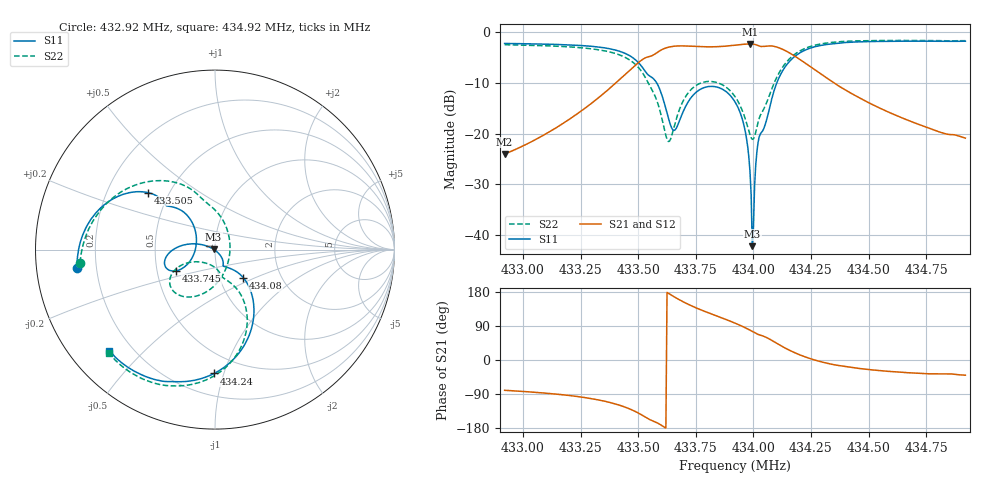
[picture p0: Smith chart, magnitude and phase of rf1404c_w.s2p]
!HP8753
# HZ S RI R 50
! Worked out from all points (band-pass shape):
!   401 points, 432.92 MHz to 434.92 MHz, reference 50 ohm
!   highest |S21| = -2.29 dB at 433.985 MHz (marker M1); lowest = -24.0 dB at 432.92 MHz (marker M2)
!   |S21| within 3 dB of the highest: 433.5209 MHz to 434.1996 MHz (678.7 kHz wide, 0.156 % of centre)
!   lowest |S11| = -42.2 dB at 433.995 MHz (marker M3), VSWR 1.02, Z = 49.2 + j0.144 ohm
!   |S11| at or under -10 dB: 433.5803 MHz to 434.1012 MHz (520.9 kHz wide, 0.12 % of centre)
!   |S22| runs from -21.5 to -1.6 dB; largest |S21 - S12| = 0.012
!   S11 on the Smith chart (normalised r, x): 432.92 MHz: 0.13, -0.07; 433.505 MHz: 0.38, +0.32; 433.745 MHz: 0.63, -0.16; 434.08 MHz: 1.30, -0.43; 434.24 MHz: 0.35, -0.93; 434.92 MHz: 0.12, -0.40
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4.3292e8  -0.7689 -0.1048  0.0109 -0.0619  0.0107 -0.0625  -0.7515 -0.0731
4.33255e8  -0.735 0.0864  -0.0235 -0.1674  -0.0241 -0.1682  -0.6882 0.1447
4.33395e8  -0.6296 0.2391  -0.1292 -0.2772  -0.1296 -0.2781  -0.5419 0.3087
4.33505e8  -0.3746 0.3179  -0.3999 -0.3188  -0.3995 -0.3222  -0.227 0.3755
4.3359e8  -0.1861 0.2172  -0.6358 -0.1309  -0.6416 -0.139  0.0341 0.1793
4.3363e8  -0.1081 0.0973  -0.7106 0.0446  -0.7199 0.0385  0.0837 0.00594
4.33655e8  -0.1062 0.0176  -0.7105 0.1626  -0.7216 0.1586  0.0646 -0.0957
4.33745e8  -0.2187 -0.1185  -0.5496 0.4748  -0.5593 0.4803  -0.1279 -0.2632
4.33835e8  -0.2814 -0.0716  -0.3325 0.6391  -0.3358 0.6487  -0.2474 -0.2068
4.3392e8  -0.2054 0.0152  -0.0953 0.7398  -0.093 0.7485  -0.2093 -0.1008
4.33965e8  -0.0993 0.0311  0.0669 0.7613  0.0712 0.7674  -0.121 -0.0685
4.33985e8  -0.0388 0.0172  0.1493 0.7532  0.154 0.7579  -0.0671 -0.0714
4.33995e8  -0.00763 0.00146  0.1919 0.7419  0.1963 0.7459  -0.038 -0.0793
4.34005e8  0.021 -0.0219  0.2333 0.7239  0.2373 0.727  -0.00926 -0.0935
4.34015e8  0.041 -0.0522  0.2692 0.6989  0.2726 0.7014  0.0159 -0.1145
4.34025e8  0.046 -0.0806  0.2937 0.6718  0.2963 0.6745  0.0318 -0.138
4.3408e8  0.1578 -0.1567  0.4561 0.574  0.4607 0.5768  0.1377 -0.2411
4.3414e8  0.2092 -0.4145  0.5642 0.3359  0.5669 0.3371  0.1713 -0.4677
4.3424e8  -0.00479 -0.6902  0.4685 0.04  0.471 0.0414  -0.0276 -0.7159
4.34255e8  -0.0428 -0.707  0.4448 0.0151  0.4474 0.0168  -0.0628 -0.7314
4.3459e8  -0.4805 -0.6586  0.1401 -0.0813  0.1415 -0.0821  -0.4839 -0.6752
4.3492e8  -0.5903 -0.564  0.0691 -0.0582  0.0697 -0.059  -0.5912 -0.5778
